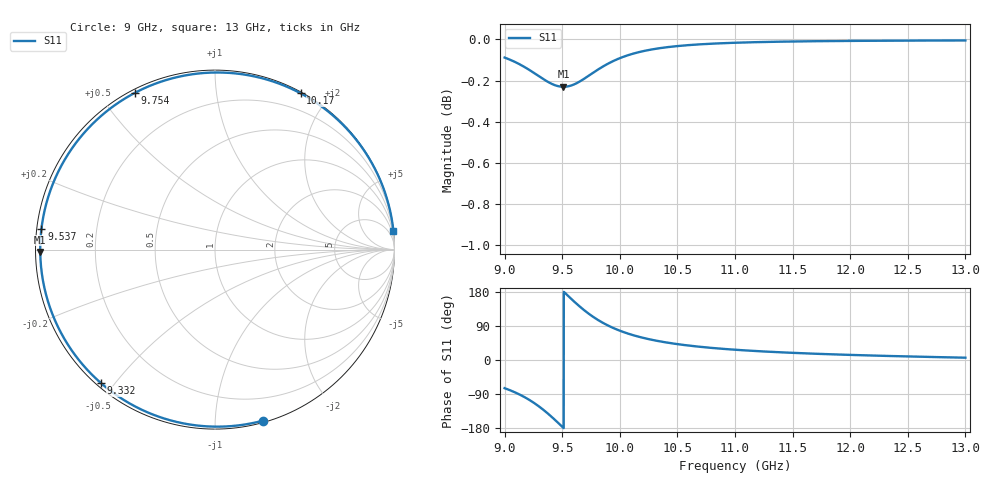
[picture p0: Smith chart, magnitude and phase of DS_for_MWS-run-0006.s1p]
! TOUCHSTONE file generated by CST DESIGN STUDIO
! Date and time: Tue Feb  4 13:01:02 2025
! Project name: C:\Work\MatlabApps\UnitCellOptimizationMatlab\CST\unitcell.cst
! Tree item: Tasks\Sweep1\SPara1\S-Parameters
! Header version: 2024
! Port assignment regex: !\s*Touchstone port\s*([0-9]+)\s*=\s*(CST MWS port|CST DES external port|CST DES block port)\s*(.+)\s* \(\"(.*)\"\)(\s*mode\s*([0-9]+))?.*
! Touchstone port assignment:
! Touchstone port 1 = CST DES external port 1 ("")
# GHz S MA R 50
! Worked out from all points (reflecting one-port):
!   4001 points, 9 GHz to 13 GHz, reference 50 ohm
!   lowest |S11| = -0.2 dB at 9.511 GHz (marker M1), VSWR 75.33, Z = 0.664 - j0.327 ohm
!   phase of S11 starts at -74 deg and turns -280 deg over the sweep
!   S11 on the Smith chart (normalised r, x): 9 GHz: 0.01, -1.32; 9.332 GHz: 0.01, -0.46; 9.537 GHz: 0.01, +0.06; 9.754 GHz: 0.01, +0.61; 10.17 GHz: 0.01, +1.69; 13 GHz: 0, +19
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9  0.9899 -74.3
9.089  0.9875 -85.2
9.193  0.9839 -101.4
9.266  0.9809 -115.5
9.332  0.9782 -130.4
9.377  0.9765 -141.7
9.424  0.975 -154.3
9.463  0.9742 -165.3
9.5  0.9738 -176.0
9.511  0.9738 -179.3
9.537  0.9739 173.2
9.591  0.9748 157.7
9.651  0.9767 141.4
9.702  0.9787 128.7
9.754  0.9809 117.0
9.805  0.983 106.7
9.861  0.9852 96.8
10  0.9895 77.3
10.08  0.9914 68.8
10.166  0.9929 61.3
10.318  0.9948 50.9
10.5  0.9963 41.9
10.722  0.9973 34.0
11  0.9981 27.1
11.5  0.9988 18.9
12  0.9991 13.4
12.5  0.9993 9.4
13  0.9994 6.1
